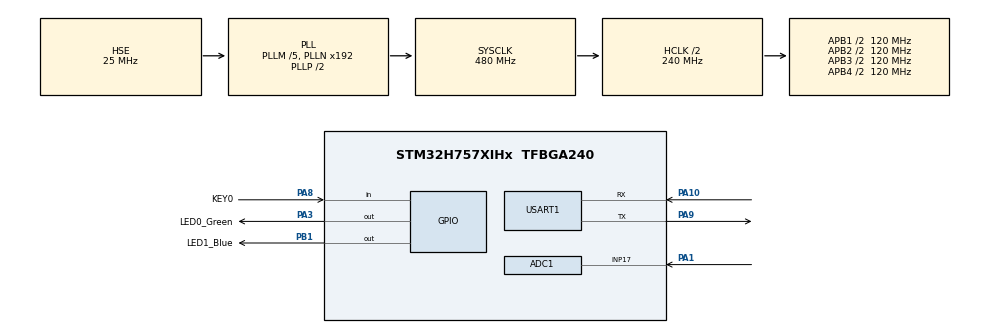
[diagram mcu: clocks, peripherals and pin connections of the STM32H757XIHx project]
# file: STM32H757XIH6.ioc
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ADC1.Channel-2\#ChannelRegularConversion=ADC_CHANNEL_17
ADC1.NbrOfConversionFlag=1
ADC1.OffsetNumber-2\#ChannelRegularConversion=ADC_OFFSET_NONE
ADC1.OffsetSignedSaturation-2\#ChannelRegularConversion=DISABLE
ADC1.Rank-2\#ChannelRegularConversion=1
ADC1.SamplingTime-2\#ChannelRegularConversion=ADC_SAMPLETIME_1CYCLE_5
ADC1.master=1
CORTEX_M7.default_mode_Activation=1
CortexM4.IPs=CORTEX_M4\:I,FATFS_M4\:I,FREERTOS_M4\:I,IWDG2\:I,OPENAMP_M4\:I,PDM2PCM_M4\:I,PWR,RCC,RESMGR_UTILITY,SYS_M4\:I,USB_DEVICE_M4\:I,USB_HOST_M4\:I,VREFBUF,WWDG2\:I,GPIO,DMA,BDMA,MDMA,NVIC2\:I,DEBUG
CortexM7.IPs=CORTEX_M7\:I,FATFS_M7\:I,FREERTOS_M7\:I,IWDG1\:I,OPENAMP_M7\:I,PDM2PCM_M7\:I,PWR\:I,RCC\:I,RESMGR_UTILITY\:I,SYS\:I,USB_DEVICE_M7\:I,USB_HOST_M7\:I,VREFBUF\:I,WWDG1\:I,GPIO\:I,DMA\:I,BDMA\:I,MDMA\:I,NVIC1\:I,USART1\:I,DEBUG\:I,ADC1\:I
CortexM7.Pins=PA8,PB1,PA3
Mcu.Family=STM32H7
Mcu.Name=STM32H757XIHx
Mcu.Package=TFBGA240
NVIC1.PriorityGroup=NVIC_PRIORITYGROUP_4
NVIC2.PriorityGroup=NVIC_PRIORITYGROUP_4
PA1.Mode=IN17-Single-Ended
PA1.PinAttribute=CortexM7
PA1.Signal=ADC1_INP17
PA10.Mode=Asynchronous
PA10.PinAttribute=CortexM7
PA10.Signal=USART1_RX
PA13\ (JTMS/SWDIO).Mode=Serial_Wire
PA13\ (JTMS/SWDIO).PinAttribute=CortexM7
PA13\ (JTMS/SWDIO).Signal=DEBUG_JTMS-SWDIO
PA14\ (JTCK/SWCLK).Mode=Serial_Wire
PA14\ (JTCK/SWCLK).PinAttribute=CortexM7
PA14\ (JTCK/SWCLK).Signal=DEBUG_JTCK-SWCLK
PA3.GPIO_Label=LED0_Green
PA3.PinAttribute=CortexM7
PA3.PinState=GPIO_PIN_SET
PA3.Signal=GPIO_Output
PA8.GPIO_Label=KEY0
PA8.GPIO_PuPd=GPIO_PULLDOWN
PA8.PinAttribute=CortexM7
PA8.Signal=GPIO_Input
PA9.Mode=Asynchronous
PA9.PinAttribute=CortexM7
PA9.Signal=USART1_TX
PB1.GPIO_Label=LED1_Blue
PB1.PinAttribute=CortexM7
PB1.PinState=GPIO_PIN_SET
PB1.Signal=GPIO_Output
PC14-OSC32_IN\ (OSC32_IN).Mode=LSE-External-Oscillator
PC14-OSC32_IN\ (OSC32_IN).PinAttribute=Free
PC14-OSC32_IN\ (OSC32_IN).Signal=RCC_OSC32_IN
PC15-OSC32_OUT\ (OSC32_OUT).Mode=LSE-External-Oscillator
PC15-OSC32_OUT\ (OSC32_OUT).PinAttribute=Free
PC15-OSC32_OUT\ (OSC32_OUT).Signal=RCC_OSC32_OUT
PH0-OSC_IN\ (PH0).Mode=HSE-External-Clock-Source
PH0-OSC_IN\ (PH0).PinAttribute=Free
PH0-OSC_IN\ (PH0).Signal=RCC_OSC_IN
ProjectManager.HeapSize=M4-0x200,M7-0x200
ProjectManager.StackSize=M4-0x400,M7-0x400
ProjectManager.TargetToolchain=Makefile
RCC.ADCFreq_Value=75000000
RCC.APB1Freq_Value=120000000
RCC.APB2Freq_Value=120000000
RCC.APB3Freq_Value=120000000
RCC.APB4Freq_Value=120000000
RCC.CortexFreq_Value=480000000
RCC.D1PPRE=RCC_APB3_DIV2
RCC.D2PPRE1=RCC_APB1_DIV2
RCC.D2PPRE2=RCC_APB2_DIV2
RCC.D3PPRE=RCC_APB4_DIV2
RCC.DIVM1=5
RCC.DIVM2=2
RCC.DIVN1=192
RCC.DIVN2=12
RCC.HCLKFreq_Value=240000000
RCC.HPRE=RCC_HCLK_DIV2
RCC.PLL2FRACN=0
RCC.PLL3FRACN=0
RCC.PLLFRACN=0
RCC.PLLSourceVirtual=RCC_PLLSOURCE_HSE
RCC.SYSCLKFreq_VALUE=480000000
RCC.SYSCLKSource=RCC_SYSCLKSOURCE_PLLCLK
RCC.SupplySource=PWR_LDO_SUPPLY
RCC.USBFreq_Value=480000000
SYS.userName=SYS_M7
USART1.VirtualMode-Asynchronous=VM_ASYNC
VP_SYS_M4_VS_Systick.Mode=SysTick
board=custom

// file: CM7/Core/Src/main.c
/* USER CODE BEGIN Header */
/**
  ******************************************************************************
  * @file           : main.c
  * @brief          : Main program body
  ******************************************************************************
  * @attention
  *
  * Copyright (c) 2026 STMicroelectronics.
  * All rights reserved.
  *
  * This software is licensed under terms that can be found in the LICENSE file
  * in the root directory of this software component.
  * If no LICENSE file comes with this software, it is provided AS-IS.
  *
  ******************************************************************************
  */
/* USER CODE END Header */
#include "main.h"
#include "adc.h"
#include "usart.h"
#include "gpio.h"

/* USER CODE BEGIN Includes */
#include <stdio.h>
/* USER CODE END Includes */

/* USER CODE BEGIN PD */

/* DUAL_CORE_BOOT_SYNC_SEQUENCE: Define for dual core boot synchronization    */
/*                             demonstration code based on hardware semaphore */
/* This define is present in both CM7/CM4 projects                            */
/* To comment when developping/debugging on a single core                     */
#define DUAL_CORE_BOOT_SYNC_SEQUENCE

#if defined(DUAL_CORE_BOOT_SYNC_SEQUENCE)
#ifndef HSEM_ID_0
#define HSEM_ID_0 (0U) /* HW semaphore 0*/
#endif
#endif /* DUAL_CORE_BOOT_SYNC_SEQUENCE */

/* USER CODE END PD */

void SystemClock_Config(void);
static void MPU_Config(void);

/* USER CODE BEGIN 0 */
int adc_val = 0;
float volt  = 0.0;
/* USER CODE END 0 */

int main(void)
{

/* USER CODE BEGIN Boot_Mode_Sequence_0 */
#if defined(DUAL_CORE_BOOT_SYNC_SEQUENCE)
  int32_t timeout;
#endif /* DUAL_CORE_BOOT_SYNC_SEQUENCE */
/* USER CODE END Boot_Mode_Sequence_0 */

  /* MPU Configuration--------------------------------------------------------*/
  MPU_Config();

/* USER CODE BEGIN Boot_Mode_Sequence_1 */
#if defined(DUAL_CORE_BOOT_SYNC_SEQUENCE)
  /* Wait until CPU2 boots and enters in stop mode or timeout*/
  timeout = 0xFFFF;
  while((__HAL_RCC_GET_FLAG(RCC_FLAG_D2CKRDY) != RESET) && (timeout-- > 0));
  if ( timeout < 0 )
  {
  Error_Handler();
  }
#endif /* DUAL_CORE_BOOT_SYNC_SEQUENCE */
/* USER CODE END Boot_Mode_Sequence_1 */
  /* MCU Configuration--------------------------------------------------------*/

  /* Reset of all peripherals, Initializes the Flash interface and the Systick. */
  HAL_Init();

  /* Configure the system clock */
  SystemClock_Config();
/* USER CODE BEGIN Boot_Mode_Sequence_2 */
#if defined(DUAL_CORE_BOOT_SYNC_SEQUENCE)
/* When system initialization is finished, Cortex-M7 will release Cortex-M4 by means of
HSEM notification */
/*HW semaphore Clock enable*/
__HAL_RCC_HSEM_CLK_ENABLE();
/*Take HSEM */
HAL_HSEM_FastTake(HSEM_ID_0);
/*Release HSEM in order to notify the CPU2(CM4)*/
HAL_HSEM_Release(HSEM_ID_0,0);
/* wait until CPU2 wakes up from stop mode */
timeout = 0xFFFF;
while((__HAL_RCC_GET_FLAG(RCC_FLAG_D2CKRDY) == RESET) && (timeout-- > 0));
if ( timeout < 0 )
{
Error_Handler();
}
#endif /* DUAL_CORE_BOOT_SYNC_SEQUENCE */
/* USER CODE END Boot_Mode_Sequence_2 */

  /* Initialize all configured peripherals */
  MX_GPIO_Init();
  MX_USART1_UART_Init();
  MX_ADC1_Init();
  /* USER CODE BEGIN 2 */
  HAL_ADC_Start(&hadc1);
  /* USER CODE END 2 */

  /* Infinite loop */
  while (1)
  {

    /* USER CODE BEGIN 3 */
    if( GPIO_PIN_SET== HAL_GPIO_ReadPin(KEY0_GPIO_Port,KEY0_Pin))
    {
      HAL_Delay(25);
      HAL_GPIO_TogglePin(LED1_Blue_GPIO_Port,LED1_Blue_Pin);
    }

    adc_val = HAL_ADC_GetValue(&hadc1);
    volt  = adc_val*3.3/65536.0f;
   unsigned int millivolts = (unsigned int)(volt * 1000.0f + 0.5f);
    unsigned int volt_int = millivolts / 1000u;
    unsigned int volt_dec = millivolts % 1000u;

    char line[32];
    snprintf(line, sizeof(line), "VOLT: %u.%03u V\r\n", volt_int, volt_dec);
    printf("%s", line);
    HAL_Delay(2000);

  }
  /* USER CODE END 3 */
}

void SystemClock_Config(void)
{
  RCC_OscInitTypeDef RCC_OscInitStruct = {0};
  RCC_ClkInitTypeDef RCC_ClkInitStruct = {0};

  /** Supply configuration update enable
  */
  HAL_PWREx_ConfigSupply(PWR_LDO_SUPPLY);

  /** Configure the main internal regulator output voltage
  */
  __HAL_PWR_VOLTAGESCALING_CONFIG(PWR_REGULATOR_VOLTAGE_SCALE0);

  while(!__HAL_PWR_GET_FLAG(PWR_FLAG_VOSRDY)) {}

  /** Initializes the RCC Oscillators according to the specified parameters
  * in the RCC_OscInitTypeDef structure.
  */
  RCC_OscInitStruct.OscillatorType = RCC_OSCILLATORTYPE_HSE;
  RCC_OscInitStruct.HSEState = RCC_HSE_BYPASS;
  RCC_OscInitStruct.PLL.PLLState = RCC_PLL_ON;
  RCC_OscInitStruct.PLL.PLLSource = RCC_PLLSOURCE_HSE;
  RCC_OscInitStruct.PLL.PLLM = 5;
  RCC_OscInitStruct.PLL.PLLN = 192;
  RCC_OscInitStruct.PLL.PLLP = 2;
  RCC_OscInitStruct.PLL.PLLQ = 2;
  RCC_OscInitStruct.PLL.PLLR = 2;
  RCC_OscInitStruct.PLL.PLLRGE = RCC_PLL1VCIRANGE_2;
  RCC_OscInitStruct.PLL.PLLVCOSEL = RCC_PLL1VCOWIDE;
  RCC_OscInitStruct.PLL.PLLFRACN = 0;
  if (HAL_RCC_OscConfig(&RCC_OscInitStruct) != HAL_OK)
  {
    Error_Handler();
  }

  /** Initializes the CPU, AHB and APB buses clocks
  */
  RCC_ClkInitStruct.ClockType = RCC_CLOCKTYPE_HCLK|RCC_CLOCKTYPE_SYSCLK
                              |RCC_CLOCKTYPE_PCLK1|RCC_CLOCKTYPE_PCLK2
                              |RCC_CLOCKTYPE_D3PCLK1|RCC_CLOCKTYPE_D1PCLK1;
  RCC_ClkInitStruct.SYSCLKSource = RCC_SYSCLKSOURCE_PLLCLK;
  RCC_ClkInitStruct.SYSCLKDivider = RCC_SYSCLK_DIV1;
  RCC_ClkInitStruct.AHBCLKDivider = RCC_HCLK_DIV2;
  RCC_ClkInitStruct.APB3CLKDivider = RCC_APB3_DIV2;
  RCC_ClkInitStruct.APB1CLKDivider = RCC_APB1_DIV2;
  RCC_ClkInitStruct.APB2CLKDivider = RCC_APB2_DIV2;
  RCC_ClkInitStruct.APB4CLKDivider = RCC_APB4_DIV2;

  if (HAL_RCC_ClockConfig(&RCC_ClkInitStruct, FLASH_LATENCY_4) != HAL_OK)
  {
    Error_Handler();
  }
}

 /* MPU Configuration */

void MPU_Config(void)
{
  MPU_Region_InitTypeDef MPU_InitStruct = {0};

  /* Disables the MPU */
  HAL_MPU_Disable();

  /** Initializes and configures the Region and the memory to be protected
  */
  MPU_InitStruct.Enable = MPU_REGION_ENABLE;
  MPU_InitStruct.Number = MPU_REGION_NUMBER0;
  MPU_InitStruct.BaseAddress = 0x0;
  MPU_InitStruct.Size = MPU_REGION_SIZE_4GB;
  MPU_InitStruct.SubRegionDisable = 0x87;
  MPU_InitStruct.TypeExtField = MPU_TEX_LEVEL0;
  MPU_InitStruct.AccessPermission = MPU_REGION_NO_ACCESS;
  MPU_InitStruct.DisableExec = MPU_INSTRUCTION_ACCESS_DISABLE;
  MPU_InitStruct.IsShareable = MPU_ACCESS_SHAREABLE;
  MPU_InitStruct.IsCacheable = MPU_ACCESS_NOT_CACHEABLE;
  MPU_InitStruct.IsBufferable = MPU_ACCESS_NOT_BUFFERABLE;

  HAL_MPU_ConfigRegion(&MPU_InitStruct);
  /* Enables the MPU */
  HAL_MPU_Enable(MPU_PRIVILEGED_DEFAULT);

}

void Error_Handler(void)
{
  __disable_irq();
  while (1)
  {
  }
}
